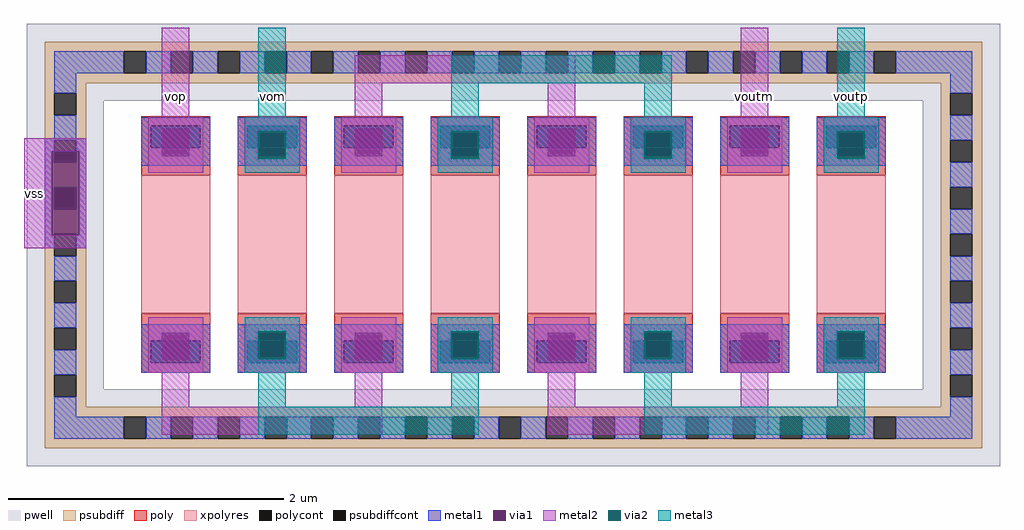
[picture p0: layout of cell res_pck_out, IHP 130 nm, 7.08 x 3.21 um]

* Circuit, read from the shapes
.subckt res_pck_out vom vop voutm voutp vss
XR1 vop rhigh_LVHKJT_0/R2 xpolyres w=0.5u l=1u
XR2 vom rhigh_LVHKJT_1/R2 xpolyres w=0.5u l=1u
XR3 rhigh_LVHKJT_2/R1 rhigh_LVHKJT_0/R2 xpolyres w=0.5u l=1u
XR4 rhigh_LVHKJT_3/R1 rhigh_LVHKJT_1/R2 xpolyres w=0.5u l=1u
XR5 rhigh_LVHKJT_2/R1 rhigh_LVHKJT_5/R2 xpolyres w=0.5u l=1u
XR6 rhigh_LVHKJT_3/R1 rhigh_LVHKJT_4/R2 xpolyres w=0.5u l=1u
XR7 voutm rhigh_LVHKJT_5/R2 xpolyres w=0.5u l=1u
XR8 voutp rhigh_LVHKJT_4/R2 xpolyres w=0.5u l=1u
.ends

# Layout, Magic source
magic
tech ihp-sg13g2
magscale 1 2
<< pwell >>
rect -166 394 1246 506
rect -166 -24 -54 394
rect 1134 -24 1246 394
rect -166 -136 1246 -24
<< psubdiff >>
rect -140 466 1220 480
rect -140 434 -25 466
rect 7 434 43 466
rect 75 434 111 466
rect 143 434 179 466
rect 211 434 247 466
rect 279 434 315 466
rect 347 434 383 466
rect 415 434 451 466
rect 483 434 519 466
rect 551 434 587 466
rect 619 434 655 466
rect 687 434 723 466
rect 755 434 791 466
rect 823 434 859 466
rect 891 434 927 466
rect 959 434 995 466
rect 1027 434 1063 466
rect 1095 434 1220 466
rect -140 420 1220 434
rect -140 405 -80 420
rect -140 373 -126 405
rect -94 373 -80 405
rect -140 337 -80 373
rect -140 305 -126 337
rect -94 305 -80 337
rect -140 269 -80 305
rect -140 237 -126 269
rect -94 237 -80 269
rect -140 201 -80 237
rect -140 169 -126 201
rect -94 169 -80 201
rect -140 133 -80 169
rect -140 101 -126 133
rect -94 101 -80 133
rect -140 65 -80 101
rect -140 33 -126 65
rect -94 33 -80 65
rect -140 -3 -80 33
rect -140 -35 -126 -3
rect -94 -35 -80 -3
rect -140 -50 -80 -35
rect 1160 405 1220 420
rect 1160 373 1174 405
rect 1206 373 1220 405
rect 1160 337 1220 373
rect 1160 305 1174 337
rect 1206 305 1220 337
rect 1160 269 1220 305
rect 1160 237 1174 269
rect 1206 237 1220 269
rect 1160 201 1220 237
rect 1160 169 1174 201
rect 1206 169 1220 201
rect 1160 133 1220 169
rect 1160 101 1174 133
rect 1206 101 1220 133
rect 1160 65 1220 101
rect 1160 33 1174 65
rect 1206 33 1220 65
rect 1160 -3 1220 33
rect 1160 -35 1174 -3
rect 1206 -35 1220 -3
rect 1160 -50 1220 -35
rect -140 -64 1220 -50
rect -140 -96 -25 -64
rect 7 -96 43 -64
rect 75 -96 111 -64
rect 143 -96 179 -64
rect 211 -96 247 -64
rect 279 -96 315 -64
rect 347 -96 383 -64
rect 415 -96 451 -64
rect 483 -96 519 -64
rect 551 -96 587 -64
rect 619 -96 655 -64
rect 687 -96 723 -64
rect 755 -96 791 -64
rect 823 -96 859 -64
rect 891 -96 927 -64
rect 959 -96 995 -64
rect 1027 -96 1063 -64
rect 1095 -96 1220 -64
rect -140 -110 1220 -96
<< psubdiffcont >>
rect -25 434 7 466
rect 43 434 75 466
rect 111 434 143 466
rect 179 434 211 466
rect 247 434 279 466
rect 315 434 347 466
rect 383 434 415 466
rect 451 434 483 466
rect 519 434 551 466
rect 587 434 619 466
rect 655 434 687 466
rect 723 434 755 466
rect 791 434 823 466
rect 859 434 891 466
rect 927 434 959 466
rect 995 434 1027 466
rect 1063 434 1095 466
rect -126 373 -94 405
rect -126 305 -94 337
rect -126 237 -94 269
rect -126 169 -94 201
rect -126 101 -94 133
rect -126 33 -94 65
rect -126 -35 -94 -3
rect 1174 373 1206 405
rect 1174 305 1206 337
rect 1174 237 1206 269
rect 1174 169 1206 201
rect 1174 101 1206 133
rect 1174 33 1206 65
rect 1174 -35 1206 -3
rect -25 -96 7 -64
rect 43 -96 75 -64
rect 111 -96 143 -64
rect 179 -96 211 -64
rect 247 -96 279 -64
rect 315 -96 347 -64
rect 383 -96 415 -64
rect 451 -96 483 -64
rect 519 -96 551 -64
rect 587 -96 619 -64
rect 655 -96 687 -64
rect 723 -96 755 -64
rect 791 -96 823 -64
rect 859 -96 891 -64
rect 927 -96 959 -64
rect 995 -96 1027 -64
rect 1063 -96 1095 -64
<< metal1 >>
rect -126 434 -25 466
rect 7 434 43 466
rect 75 434 111 466
rect 143 434 179 466
rect 211 434 247 466
rect 279 434 315 466
rect 347 434 383 466
rect 415 434 451 466
rect 483 434 519 466
rect 551 434 587 466
rect 619 434 655 466
rect 687 434 723 466
rect 755 434 791 466
rect 823 434 859 466
rect 891 434 927 466
rect 959 434 995 466
rect 1027 434 1063 466
rect 1095 434 1206 466
rect -126 405 -94 434
rect -126 340 -94 373
rect 1174 405 1206 434
rect -140 337 -80 340
rect -140 321 -126 337
rect -94 321 -80 337
rect -140 199 -130 321
rect -90 199 -80 321
rect 0 300 100 370
rect 140 300 240 370
rect 280 300 380 370
rect 420 300 520 370
rect 560 300 660 370
rect 700 300 800 370
rect 840 300 940 370
rect 980 300 1080 370
rect 1174 337 1206 373
rect -140 180 -126 199
rect -94 180 -80 199
rect 1174 269 1206 305
rect 1174 201 1206 237
rect -126 133 -94 169
rect -126 65 -94 101
rect 1174 133 1206 169
rect -126 -3 -94 33
rect 0 0 100 70
rect 140 0 240 70
rect 280 0 380 70
rect 420 0 520 70
rect 560 0 660 70
rect 700 0 800 70
rect 840 0 940 70
rect 980 0 1080 70
rect 1174 65 1206 101
rect -126 -64 -94 -35
rect 1174 -3 1206 33
rect 1174 -64 1206 -35
rect -126 -96 -25 -64
rect 7 -96 43 -64
rect 75 -96 111 -64
rect 143 -96 179 -64
rect 211 -96 247 -64
rect 279 -96 315 -64
rect 347 -96 383 -64
rect 415 -96 451 -64
rect 483 -96 519 -64
rect 551 -96 587 -64
rect 619 -96 655 -64
rect 687 -96 723 -64
rect 755 -96 791 -64
rect 823 -96 859 -64
rect 891 -96 927 -64
rect 959 -96 995 -64
rect 1027 -96 1063 -64
rect 1095 -96 1206 -64
<< via1 >>
rect -130 305 -126 321
rect -126 305 -94 321
rect -94 305 -90 321
rect -130 269 -90 305
rect -130 237 -126 269
rect -126 237 -94 269
rect -94 237 -90 269
rect -130 201 -90 237
rect -130 199 -126 201
rect -126 199 -94 201
rect -94 199 -90 201
<< metal2 >>
rect 30 370 70 500
rect 310 420 630 460
rect 310 370 350 420
rect 590 370 630 420
rect 870 370 910 500
rect -170 321 -80 340
rect -170 199 -130 321
rect -90 199 -80 321
rect 10 290 90 370
rect 150 350 230 370
rect 150 310 170 350
rect 210 310 230 350
rect 150 290 230 310
rect 290 290 370 370
rect 430 350 510 370
rect 430 310 450 350
rect 490 310 510 350
rect 430 290 510 310
rect 570 290 650 370
rect 710 350 790 370
rect 710 310 730 350
rect 770 310 790 350
rect 710 290 790 310
rect 850 290 930 370
rect 990 350 1070 370
rect 990 310 1010 350
rect 1050 310 1070 350
rect 990 290 1070 310
rect -170 180 -80 199
rect 10 0 90 80
rect 150 60 230 80
rect 150 20 170 60
rect 210 20 230 60
rect 150 0 230 20
rect 290 0 370 80
rect 430 60 510 80
rect 430 20 450 60
rect 490 20 510 60
rect 430 0 510 20
rect 570 0 650 80
rect 710 60 790 80
rect 710 20 730 60
rect 770 20 790 60
rect 710 0 790 20
rect 850 0 930 80
rect 990 60 1070 80
rect 990 20 1010 60
rect 1050 20 1070 60
rect 990 0 1070 20
rect 30 -50 70 0
rect 310 -50 350 0
rect 30 -90 350 -50
rect 590 -50 630 0
rect 870 -50 910 0
rect 590 -90 910 -50
<< via2 >>
rect 170 310 210 350
rect 450 310 490 350
rect 730 310 770 350
rect 1010 310 1050 350
rect 170 20 210 60
rect 450 20 490 60
rect 730 20 770 60
rect 1010 20 1050 60
<< metal3 >>
rect 170 370 210 500
rect 450 420 770 460
rect 450 370 490 420
rect 730 370 770 420
rect 1010 370 1050 500
rect 150 350 230 370
rect 150 310 170 350
rect 210 310 230 350
rect 150 290 230 310
rect 430 350 510 370
rect 430 310 450 350
rect 490 310 510 350
rect 430 290 510 310
rect 710 350 790 370
rect 710 310 730 350
rect 770 310 790 350
rect 710 290 790 310
rect 990 350 1070 370
rect 990 310 1010 350
rect 1050 310 1070 350
rect 990 290 1070 310
rect 150 60 230 80
rect 150 20 170 60
rect 210 20 230 60
rect 150 0 230 20
rect 430 60 510 80
rect 430 20 450 60
rect 490 20 510 60
rect 430 0 510 20
rect 710 60 790 80
rect 710 20 730 60
rect 770 20 790 60
rect 710 0 790 20
rect 990 60 1070 80
rect 990 20 1010 60
rect 1050 20 1070 60
rect 990 0 1070 20
rect 170 -50 210 0
rect 450 -50 490 0
rect 170 -90 490 -50
rect 730 -50 770 0
rect 1010 -50 1050 0
rect 730 -90 1050 -50
use rhigh_LVHKJT  rhigh_LVHKJT_0
transform 1 0 50 0 1 186
box -50 -186 50 186
use rhigh_LVHKJT  rhigh_LVHKJT_1
transform 1 0 190 0 1 186
box -50 -186 50 186
use rhigh_LVHKJT  rhigh_LVHKJT_2
transform 1 0 330 0 1 186
box -50 -186 50 186
use rhigh_LVHKJT  rhigh_LVHKJT_3
transform 1 0 470 0 1 186
box -50 -186 50 186
use rhigh_LVHKJT  rhigh_LVHKJT_4
transform 1 0 1030 0 1 186
box -50 -186 50 186
use rhigh_LVHKJT  rhigh_LVHKJT_5
transform 1 0 890 0 1 186
box -50 -186 50 186
use rhigh_LVHKJT  rhigh_LVHKJT_6
transform 1 0 750 0 1 186
box -50 -186 50 186
use rhigh_LVHKJT  rhigh_LVHKJT_7
transform 1 0 610 0 1 186
box -50 -186 50 186
<< labels >>
flabel metal2 s 30 380 70 420 0 FreeSans 2979 0 0 0 vop
flabel metal3 s 170 380 210 420 0 FreeSans 2979 0 0 0 vom
flabel metal2 s -170 180 -140 340 0 FreeSans 2979 0 0 0 vss
flabel metal2 s 870 380 910 420 0 FreeSans 2979 0 0 0 voutm
flabel metal3 s 1010 380 1050 420 0 FreeSans 2979 0 0 0 voutp
<< end >>

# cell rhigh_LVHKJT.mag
magic
tech ihp-sg13g2
magscale 1 2
<< poly >>
rect -50 172 50 186
rect -50 140 -36 172
rect 36 140 50 172
rect -50 100 50 140
rect -50 -140 50 -100
rect -50 -172 -36 -140
rect 36 -172 50 -140
rect -50 -186 50 -172
<< polycont >>
rect -36 140 36 172
rect -36 -172 36 -140
<< xpolyres >>
rect -50 -100 50 100
<< metal1 >>
rect -46 172 46 177
rect -46 140 -36 172
rect 36 140 46 172
rect -46 128 -20 140
rect 20 128 46 140
rect -46 119 46 128
rect -46 -128 46 -119
rect -46 -140 -20 -128
rect 20 -140 46 -128
rect -46 -172 -36 -140
rect 36 -172 46 -140
rect -46 -177 46 -172
<< via1 >>
rect -20 140 20 168
rect -20 128 20 140
rect -20 -140 20 -128
rect -20 -168 20 -140
<< metal2 >>
rect -36 168 36 185
rect -36 128 -20 168
rect 20 128 36 168
rect -36 111 36 128
rect -36 -128 36 -111
rect -36 -168 -20 -128
rect 20 -168 36 -128
rect -36 -185 36 -168
<< labels >>
rlabel metal1 s 0 156 0 156 4 R1
rlabel metal1 s 0 -156 0 -156 4 R2
<< end >>
